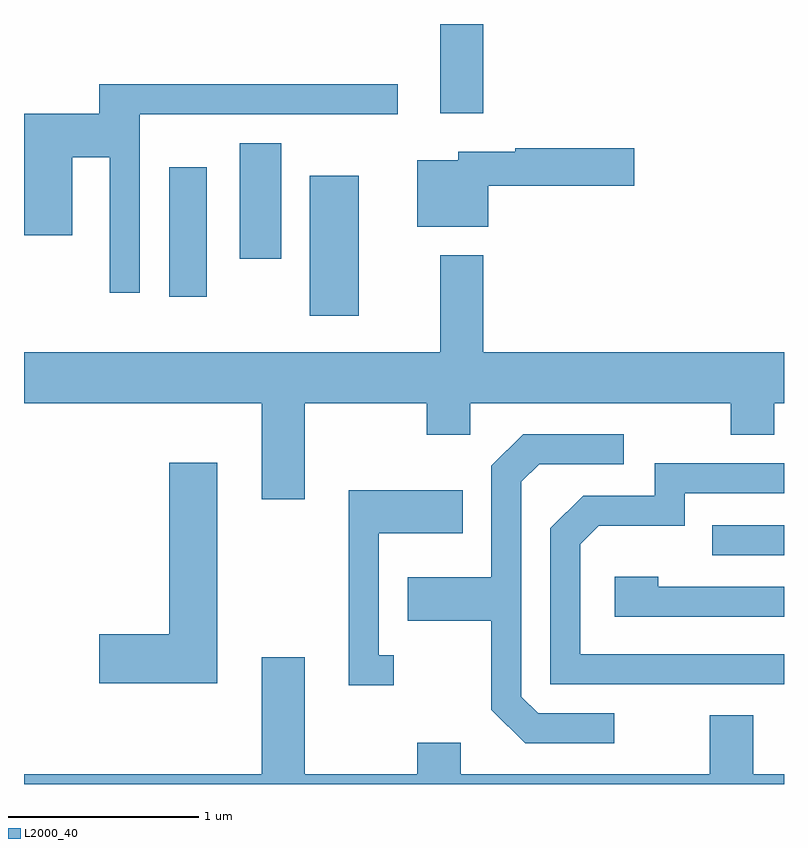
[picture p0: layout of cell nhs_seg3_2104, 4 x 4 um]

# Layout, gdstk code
import gdstk
lib = gdstk.Library(unit=1e-6, precision=1e-09)
def R(c, l, rs):  # rectangles x0, y0, x1, y1
    for r in rs: c.add(gdstk.rectangle(r[:2], r[2:], *l))
def P(c, l, *ps):  # polygons
    for p in ps: c.add(gdstk.Polygon(p, *l))
L2000_40 = (2000, 40)

nhs_seg3_2104 = lib.new_cell('nhs_seg3_2104')
R(nhs_seg3_2104, L2000_40, [(249.233,1245.096,249.611,1245.254), (247.116,1246.356,247.374,1247.094), (246.376,1246.456,246.574,1247.139), (246.746,1246.656,246.964,1247.264), (247.801,1247.421,248.029,1247.892)])
P(nhs_seg3_2104, L2000_40, [(246.219,1247.416),(247.578,1247.416),(247.578,1247.574),(246.006,1247.574),(246.006,1247.419),(245.611,1247.419),(245.611,1246.781),(245.864,1246.781),(245.864,1247.191),(246.061,1247.191),(246.061,1246.478),(246.219,1246.478)],
  [(248.054,1247.041),(248.824,1247.041),(248.824,1247.239),(248.196,1247.239),(248.196,1247.219),(247.896,1247.219),(247.896,1247.174),(247.681,1247.174),(247.681,1246.826),(248.054,1246.826)],
  [(247.089,1245.896),(247.731,1245.896),(247.731,1245.731),(247.959,1245.731),(247.959,1245.896),(249.331,1245.896),(249.331,1245.731),(249.559,1245.731),(249.559,1245.896),(249.611,1245.896),(249.611,1246.164),(248.029,1246.164),(248.029,1246.674),(247.801,1246.674),(247.801,1246.164),(245.611,1246.164),(245.611,1245.896),(246.861,1245.896),(246.861,1245.391),(247.089,1245.391)],
  [(248.718,1244.264),(248.317,1244.264),(248.229,1244.352),(248.229,1245.484),(248.322,1245.576),(248.768,1245.576),(248.768,1245.734),(248.239,1245.734),(248.071,1245.567),(248.071,1244.979),(247.631,1244.979),(247.631,1244.751),(248.071,1244.751),(248.071,1244.284),(248.249,1244.106),(248.718,1244.106)],
  [(246.629,1245.584),(246.376,1245.584),(246.376,1244.679),(246.006,1244.679),(246.006,1244.421),(246.629,1244.421)],
  [(249.611,1244.574),(248.539,1244.574),(248.539,1245.154),(248.637,1245.251),(249.089,1245.251),(249.089,1245.421),(249.611,1245.421),(249.611,1245.579),(248.931,1245.579),(248.931,1245.409),(248.554,1245.409),(248.381,1245.237),(248.381,1244.416),(249.611,1244.416)],
  [(247.558,1244.569),(247.479,1244.569),(247.479,1245.211),(247.919,1245.211),(247.919,1245.439),(247.321,1245.439),(247.321,1244.411),(247.558,1244.411)],
  [(249.611,1244.929),(248.949,1244.929),(248.949,1244.984),(248.721,1244.984),(248.721,1244.771),(249.611,1244.771)],
  [(249.611,1243.944),(249.449,1243.944),(249.449,1244.254),(249.221,1244.254),(249.221,1243.944),(247.909,1243.944),(247.909,1244.109),(247.681,1244.109),(247.681,1243.944),(247.089,1243.944),(247.089,1244.559),(246.861,1244.559),(246.861,1243.944),(245.611,1243.944),(245.611,1243.892),(249.611,1243.892)])

lib.write_gds('nhs_seg3_2104.gds')
